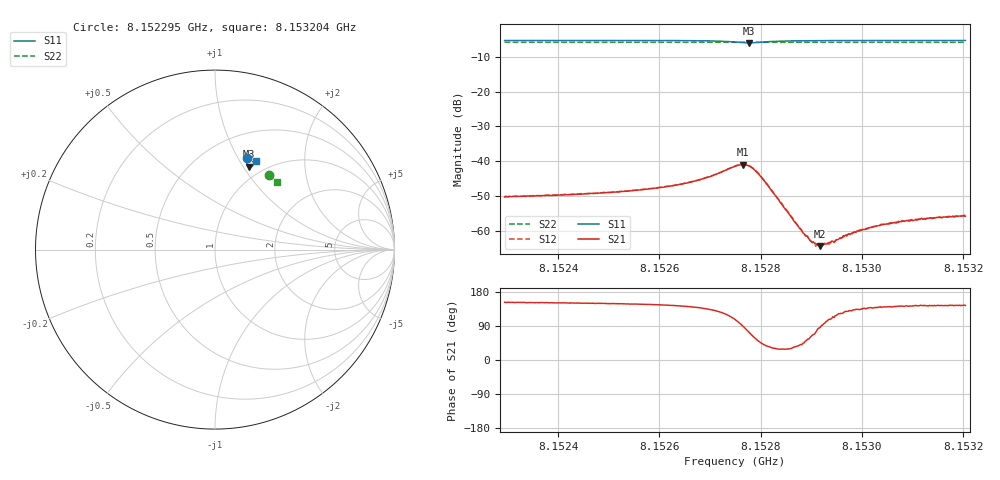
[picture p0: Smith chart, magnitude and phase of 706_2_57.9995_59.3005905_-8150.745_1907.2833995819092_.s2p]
#  HZ  S  RI  R  50.00
! Rohde & Schwarz Vector Network Analyzer
! Rohde-Schwarz,ZNB20-2Port,1311601062101988,3.16
! Created: UTC 3/21/2024, 1:21:58 AM
! freq[Hz]  re:S11  im:S11  re:S21  im:S21  re:S12  im:S12  re:S22  im:S22
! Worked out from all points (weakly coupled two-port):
!   401 points, 8.152295 GHz to 8.153204 GHz, reference 50 ohm
!   highest |S21| = -40.94 dB at 8.152765 GHz (marker M1); lowest = -64.3 dB at 8.152918 GHz (marker M2)
!   lowest |S11| = -6.0 dB at 8.152777 GHz (marker M3), VSWR 2.99, Z = 43.1 + j53 ohm
!   |S11| at or under -10 dB: nowhere
!   |S22| runs from -5.9 to -5.8 dB; largest |S21 - S12| = 0.00016
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8.1522946e9  0.1756 0.511  -0.00273 0.00142  -0.00275 0.00149  0.3005 0.4139
8.1524469e9  0.1871 0.507  -0.00294 0.00168  -0.00296 0.00176  0.3082 0.408
8.1525151e9  0.1927 0.5047  -0.00309 0.0019  -0.00308 0.00195  0.3117 0.4052
8.1525993e9  0.2003 0.5009  -0.00343 0.00238  -0.00349 0.0024  0.3157 0.4017
8.1526766e9  0.2093 0.4938  -0.004 0.00356  -0.00395 0.00364  0.3196 0.3984
8.1527107e9  0.2138 0.4865  -0.00416 0.00494  -0.00411 0.00503  0.3213 0.3967
8.1527494e9  0.2111 0.4683  -0.0025 0.00809  -0.00246 0.00815  0.3228 0.3946
8.1527653e9  0.2001 0.4611  0.000152 0.00897  0.000174 0.00905  0.3228 0.3938
8.1527767e9  0.189 0.4621  0.00244 0.00825  0.0025 0.00832  0.3232 0.3937
8.152788e9  0.1805 0.4693  0.0039 0.00641  0.00399 0.00649  0.3234 0.3936
8.1528039e9  0.178 0.4817  0.00413 0.00379  0.00422 0.0038  0.3244 0.3935
8.1528835e9  0.1968 0.4987  0.000672 0.000651  0.000709 0.000631  0.3289 0.3905
8.1529017e9  0.1999 0.4989  0.000287 0.000623  0.000309 0.000606  0.3299 0.3897
8.1529108e9  0.2012 0.4988  0.000135 0.000624  0.000137 0.000601  0.3304 0.3894
8.1529176e9  0.2022 0.4986  4.37e-05 0.00061  5.72e-05 0.000635  0.3306 0.389
8.1529404e9  0.2051 0.4983  -0.000243 0.000677  -0.000237 0.000633  0.3316 0.3881
8.1529677e9  0.2081 0.4978  -0.000544 0.000686  -0.00054 0.000689  0.333 0.387
8.152995e9  0.2108 0.497  -0.000683 0.00073  -0.000728 0.000745  0.3345 0.3857
8.1530541e9  0.2161 0.4954  -0.000991 0.000806  -0.000997 0.000832  0.3372 0.3831
8.1531018e9  0.2201 0.4942  -0.00113 0.000852  -0.00114 0.000907  0.3396 0.381
8.1531314e9  0.2224 0.4933  -0.0012 0.000926  -0.00123 0.000928  0.3407 0.3798
8.1532042e9  0.2277 0.4911  -0.00132 0.000956  -0.00135 0.000996  0.3444 0.3767
